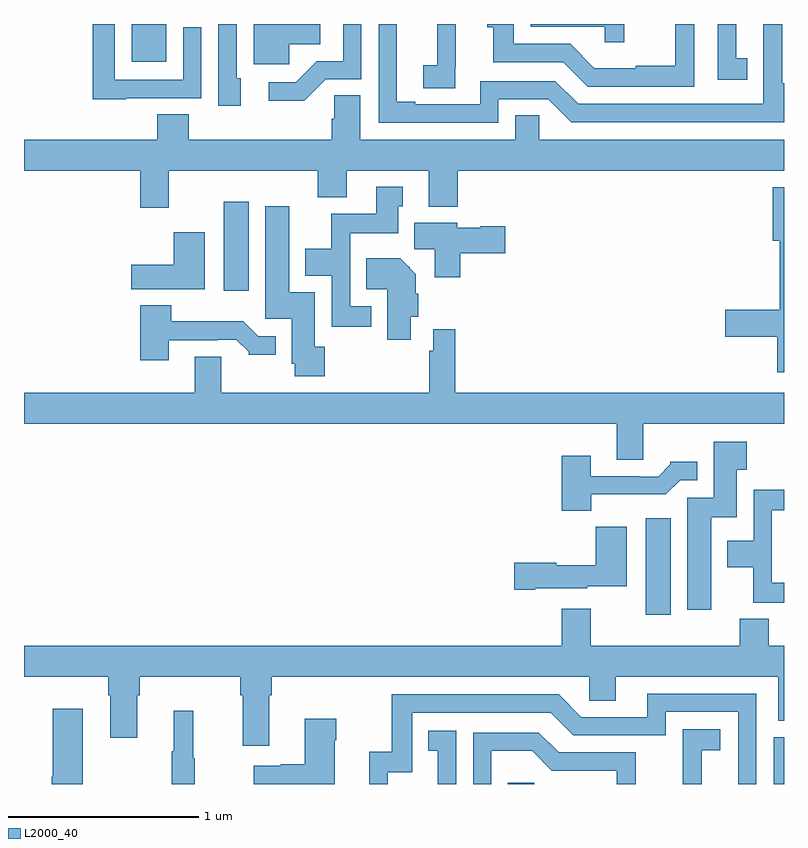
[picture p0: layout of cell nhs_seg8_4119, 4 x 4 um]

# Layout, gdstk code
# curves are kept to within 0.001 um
import gdstk
lib = gdstk.Library(unit=1e-6, precision=1e-09)
def R(c, l, rs):  # rectangles x0, y0, x1, y1
    for r in rs: c.add(gdstk.rectangle(r[:2], r[2:], *l))
def P(c, l, *ps):  # polygons
    for p in ps: c.add(gdstk.Polygon(p, *l))
L2000_40 = (2000, 40)

nhs_seg8_4119 = lib.new_cell('nhs_seg8_4119')
R(nhs_seg8_4119, L2000_40, [(365.545,1151.9,365.685,1151.907), (366.945,1151.9,367,1152.147), (366.272,1152.792,366.403,1153.3), (364.052,1154.496,364.183,1154.965)])
P(nhs_seg8_4119, L2000_40, [(366.528,1155.9),(366.427,1155.9),(366.427,1155.679),(366.221,1155.679),(366.221,1155.667),(366.002,1155.667),(365.874,1155.795),(365.578,1155.795),(365.578,1155.9),(365.438,1155.9),(365.438,1155.883),(365.471,1155.883),(365.471,1155.699),(365.838,1155.699),(365.967,1155.57),(366.528,1155.57)],
  [(364.141,1155.615),(364.119,1155.615),(364.119,1155.9),(364.023,1155.9),(364.023,1155.471),(364.141,1155.471)],
  [(366.158,1155.9),(365.667,1155.9),(365.667,1155.885),(366.057,1155.885),(366.057,1155.804),(366.158,1155.804)],
  [(365.496,1155.504),(365.76,1155.504),(365.88,1155.384),(367,1155.384),(367,1155.587),(366.99,1155.587),(366.99,1155.9),(366.89,1155.9),(366.891,1155.48),(365.916,1155.48),(365.796,1155.6),(365.4,1155.6),(365.4,1155.477),(365.059,1155.477),(365.059,1155.492),(364.963,1155.492),(364.963,1155.9),(364.866,1155.9),(364.866,1155.381),(365.496,1155.381)],
  [(366.806,1155.719),(366.748,1155.719),(366.748,1155.9),(366.651,1155.9),(366.651,1155.606),(366.806,1155.606)],
  [(364.587,1155.609),(364.776,1155.609),(364.776,1155.9),(364.68,1155.9),(364.68,1155.705),(364.542,1155.705),(364.431,1155.594),(364.287,1155.594),(364.287,1155.497),(364.474,1155.497)],
  [(363.748,1155.9),(363.608,1155.9),(363.608,1155.898),(363.566,1155.898),(363.566,1155.701),(363.748,1155.701)],
  [(363.537,1155.51),(363.933,1155.51),(363.933,1155.883),(363.837,1155.883),(363.837,1155.606),(363.477,1155.606),(363.477,1155.9),(363.361,1155.9),(363.361,1155.503),(363.537,1155.503)],
  [(365.27,1155.673),(365.272,1155.673),(365.272,1155.9),(365.175,1155.9),(365.175,1155.881),(365.174,1155.881),(365.174,1155.684),(365.1,1155.684),(365.1,1155.562),(365.27,1155.562)],
  [(364.395,1155.794),(364.558,1155.794),(364.558,1155.898),(364.208,1155.898),(364.208,1155.687),(364.395,1155.687)],
  [(363.763,1155.128),(364.547,1155.128),(364.547,1154.987),(364.699,1154.987),(364.699,1155.128),(365.129,1155.128),(365.129,1154.939),(365.282,1154.939),(365.282,1155.128),(367,1155.128),(367,1155.292),(365.712,1155.292),(365.712,1155.419),(365.585,1155.419),(365.585,1155.292),(364.771,1155.292),(364.771,1155.524),(364.632,1155.524),(364.632,1155.401),(364.619,1155.401),(364.619,1155.292),(363.866,1155.292),(363.866,1155.425),(363.701,1155.425),(363.701,1155.292),(363,1155.292),(363,1155.128),(363.611,1155.128),(363.611,1154.934),(363.763,1154.934)],
  [(364.828,1154.415),(364.716,1154.415),(364.716,1154.798),(364.969,1154.798),(364.969,1154.94),(364.993,1154.94),(364.993,1155.043),(364.853,1155.043),(364.853,1154.902),(364.618,1154.902),(364.618,1154.716),(364.481,1154.716),(364.481,1154.576),(364.62,1154.576),(364.62,1154.307),(364.828,1154.307)],
  [(367,1155.04),(366.941,1155.04),(366.941,1154.76),(366.977,1154.76),(366.977,1154.396),(366.69,1154.396),(366.69,1154.254),(366.965,1154.254),(366.965,1154.067),(367,1154.067)],
  [(364.583,1154.202),(364.531,1154.202),(364.531,1154.488),(364.396,1154.488),(364.396,1154.941),(364.271,1154.941),(364.271,1154.349),(364.409,1154.349),(364.409,1154.112),(364.426,1154.112),(364.426,1154.046),(364.583,1154.046)],
  [(365.297,1154.693),(365.533,1154.693),(365.533,1154.835),(365.4,1154.835),(365.4,1154.827),(365.28,1154.827),(365.28,1154.854),(365.054,1154.854),(365.054,1154.715),(365.162,1154.715),(365.162,1154.568),(365.297,1154.568)],
  [(363.952,1154.803),(363.788,1154.803),(363.788,1154.634),(363.564,1154.634),(363.564,1154.504),(363.952,1154.504)],
  [(365.035,1154.358),(365.075,1154.358),(365.075,1154.48),(365.062,1154.48),(365.062,1154.583),(365.031,1154.614),(365.031,1154.622),(365.025,1154.622),(364.979,1154.668),(364.801,1154.668),(364.801,1154.504),(364.913,1154.504),(364.913,1154.238),(365.035,1154.238)],
  [(363.763,1154.235),(364.019,1154.235),(364.019,1154.238),(364.118,1154.238),(364.182,1154.174),(364.182,1154.159),(364.324,1154.159),(364.324,1154.256),(364.233,1154.256),(364.155,1154.335),(363.776,1154.335),(363.776,1154.419),(363.611,1154.419),(363.611,1154.13),(363.763,1154.13)],
  [(366.259,1153.796),(367,1153.796),(367,1153.96),(365.27,1153.96),(365.27,1154.293),(365.154,1154.293),(365.154,1154.18),(365.134,1154.18),(365.134,1153.96),(364.039,1153.96),(364.039,1154.15),(363.899,1154.15),(363.899,1153.96),(363,1153.96),(363,1153.796),(366.119,1153.796),(366.119,1153.606),(366.259,1153.606)],
  [(366.616,1153.304),(366.751,1153.304),(366.751,1153.555),(366.803,1153.555),(366.803,1153.702),(366.629,1153.702),(366.629,1153.407),(366.491,1153.407),(366.491,1152.816),(366.616,1152.816)],
  [(365.986,1153.424),(366.377,1153.424),(366.453,1153.5),(366.544,1153.5),(366.544,1153.597),(366.402,1153.597),(366.402,1153.582),(366.338,1153.518),(366.239,1153.518),(366.239,1153.521),(365.983,1153.521),(365.983,1153.627),(365.831,1153.627),(365.831,1153.337),(365.986,1153.337)],
  [(367,1152.958),(366.936,1152.958),(366.936,1153.341),(367,1153.341),(367,1153.45),(366.84,1153.45),(366.84,1153.18),(366.701,1153.18),(366.701,1153.04),(366.838,1153.04),(366.838,1152.854),(367,1152.854)],
  [(365.692,1152.929),(365.964,1152.929),(365.964,1152.941),(366.172,1152.941),(366.172,1153.255),(366.01,1153.255),(366.01,1153.051),(365.802,1153.051),(365.802,1153.064),(365.58,1153.064),(365.58,1152.922),(365.692,1152.922)],
  [(364.291,1152.368),(364.304,1152.368),(364.304,1152.464),(365.976,1152.464),(365.976,1152.337),(366.115,1152.337),(366.115,1152.464),(366.971,1152.464),(366.971,1152.232),(367,1152.232),(367,1152.628),(366.919,1152.628),(366.919,1152.769),(366.767,1152.769),(366.767,1152.628),(365.983,1152.628),(365.983,1152.823),(365.831,1152.823),(365.831,1152.628),(363,1152.628),(363,1152.464),(363.443,1152.464),(363.443,1152.368),(363.455,1152.368),(363.455,1152.144),(363.595,1152.144),(363.595,1152.368),(363.608,1152.368),(363.608,1152.464),(364.139,1152.464),(364.139,1152.368),(364.151,1152.368),(364.151,1152.102),(364.291,1152.102)],
  [(364.914,1151.961),(365.043,1151.961),(365.043,1152.276),(365.772,1152.276),(365.892,1152.156),(366.378,1152.156),(366.378,1152.279),(366.759,1152.279),(366.759,1151.9),(366.855,1151.9),(366.855,1152.375),(366.281,1152.375),(366.281,1152.252),(365.934,1152.252),(365.814,1152.372),(364.935,1152.372),(364.935,1152.07),(364.817,1152.07),(364.817,1151.9),(364.914,1151.9)],
  [(363.31,1152.295),(363.152,1152.295),(363.152,1151.937),(363.146,1151.937),(363.146,1151.9),(363.31,1151.9)],
  [(363.898,1152.036),(363.89,1152.036),(363.89,1152.286),(363.788,1152.286),(363.788,1152.073),(363.777,1152.073),(363.777,1151.9),(363.898,1151.9)],
  [(364.636,1152.131),(364.644,1152.131),(364.644,1152.244),(364.478,1152.244),(364.478,1152.005),(364.352,1152.005),(364.352,1151.995),(364.209,1151.995),(364.209,1151.9),(364.636,1151.9)],
  [(366.566,1152.077),(366.664,1152.077),(366.664,1152.187),(366.466,1152.187),(366.466,1151.981),(366.467,1151.981),(366.467,1151.9),(366.566,1151.9)],
  [(365.274,1152.181),(365.128,1152.181),(365.128,1152.075),(365.177,1152.075),(365.177,1151.9),(365.274,1151.9)],
  [(365.46,1152.074),(365.674,1152.074),(365.778,1151.97),(366.12,1151.97),(366.12,1151.9),(366.219,1151.9),(366.219,1152.066),(365.815,1152.066),(365.71,1152.171),(365.364,1152.171),(365.364,1151.9),(365.46,1151.9)])

lib.write_gds('nhs_seg8_4119.gds')
